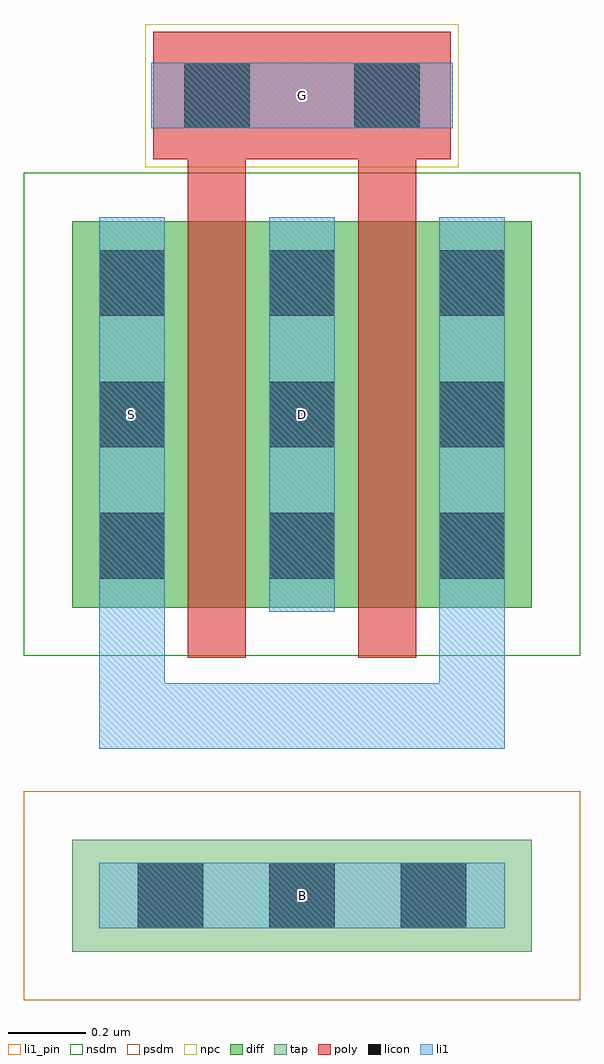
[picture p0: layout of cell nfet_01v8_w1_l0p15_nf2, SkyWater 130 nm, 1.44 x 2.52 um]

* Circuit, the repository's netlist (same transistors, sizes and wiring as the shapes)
.SUBCKT nfet_01v8_w1_l0p15_nf2 D G S B
M0 D G S B nfet_01v8 w=1 l=0.15
M1 D G S B nfet_01v8 w=1 l=0.15
.ENDS

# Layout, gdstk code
import gdstk
lib = gdstk.Library(unit=1e-6, precision=1e-09)
def R(c, l, rs):  # rectangles x0, y0, x1, y1
    for r in rs: c.add(gdstk.rectangle(r[:2], r[2:], *l))
def A(c, l, x, y, w, h, nx, ny, dx, dy):  # array of equal rectangles
    R(c, l, [(x+i*dx, y+j*dy, x+i*dx+w, y+j*dy+h) for i in range(nx) for j in range(ny)])
diff = (65, 20)
tap = (65, 44)
poly = (66, 20)
licon = (66, 44)
li1_pin = (67, 16)
li1 = (67, 20)
nsdm = (93, 44)
psdm = (94, 20)
npc = (95, 20)

nfet_01v8_w1_l0p15_nf2 = lib.new_cell('nfet_01v8_w1_l0p15_nf2')
R(nfet_01v8_w1_l0p15_nf2, diff, [(0,0,1.19,1)])
R(nfet_01v8_w1_l0p15_nf2, tap, [(0,-0.89,1.19,-0.6)])
R(nfet_01v8_w1_l0p15_nf2, poly, [(0.3,-0.13,0.45,1.16), (0.74,-0.13,0.89,1.16), (0.21,1.16,0.98,1.49)])
A(nfet_01v8_w1_l0p15_nf2, licon, 0.17, -0.83, 0.17, 0.17, 3, 1, 0.34, 0)
A(nfet_01v8_w1_l0p15_nf2, licon, 0.07, 0.075, 0.17, 0.17, 3, 3, 0.44, 0.34)
R(nfet_01v8_w1_l0p15_nf2, licon, [(0.29,1.24,0.46,1.41), (0.73,1.24,0.9,1.41)])
R(nfet_01v8_w1_l0p15_nf2, li1_pin, [(0.59,-0.75,0.6,-0.74), (0.15,0.495,0.16,0.505), (0.59,0.495,0.6,0.505), (0.59,1.32,0.6,1.33)])
R(nfet_01v8_w1_l0p15_nf2, li1, [(0.07,-0.83,1.12,-0.66), (0.07,-0.365,1.12,-0.195), (0.07,-0.365,0.24,1.01), (0.95,-0.365,1.12,1.01), (0.51,-0.01,0.68,1.01), (0.205,1.24,0.985,1.41)])
R(nfet_01v8_w1_l0p15_nf2, nsdm, [(-0.125,-0.125,1.315,1.125)])
R(nfet_01v8_w1_l0p15_nf2, psdm, [(-0.125,-1.015,1.315,-0.475)])
R(nfet_01v8_w1_l0p15_nf2, npc, [(0.19,1.14,1,1.51)])
nfet_01v8_w1_l0p15_nf2.add(gdstk.Label('G', (0.595,1.325), layer=67, texttype=5))
nfet_01v8_w1_l0p15_nf2.add(gdstk.Label('B', (0.595,-0.745), layer=67, texttype=5))
nfet_01v8_w1_l0p15_nf2.add(gdstk.Label('S', (0.155,0.5), layer=67, texttype=5))
nfet_01v8_w1_l0p15_nf2.add(gdstk.Label('D', (0.595,0.5), layer=67, texttype=5))

lib.write_gds('nfet_01v8_w1_l0p15_nf2.gds')
